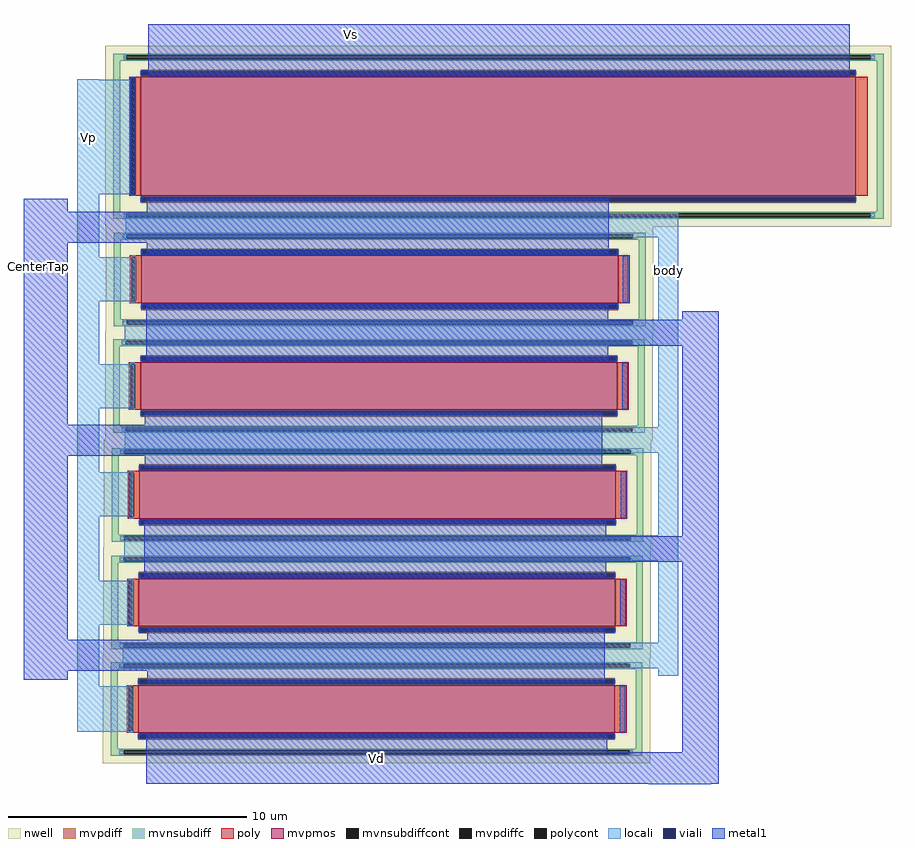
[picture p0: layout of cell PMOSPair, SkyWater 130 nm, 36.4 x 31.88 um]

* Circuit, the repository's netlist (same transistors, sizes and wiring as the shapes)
* NGSPICE file created from PMOSPair.ext - technology: sky130A

.subckt sky130_fd_pr__pfet_g5v0d10v5_97BMAW a_n558_n3000# a_n500_n3097# a_500_n3000#
+ w_n758_n3297#
X0 a_500_n3000# a_n500_n3097# a_n558_n3000# w_n758_n3297# sky130_fd_pr__pfet_g5v0d10v5 ad=8.7e+12p pd=6.058e+07u as=8.7e+12p ps=6.058e+07u w=3e+07u l=5e+06u
.ends

.subckt sky130_fd_pr__pfet_g5v0d10v5_97TZA6 a_n200_n2097# a_200_n2000# w_n458_n2297#
+ a_n258_n2000#
X0 a_200_n2000# a_n200_n2097# a_n258_n2000# w_n458_n2297# sky130_fd_pr__pfet_g5v0d10v5 ad=5.8e+12p pd=4.058e+07u as=5.8e+12p ps=4.058e+07u w=2e+07u l=2e+06u
.ends

.subckt PMOSPair Vs body CenterTap Vp Vd
XXM12 Vs Vp CenterTap body sky130_fd_pr__pfet_g5v0d10v5_97BMAW
XXM7 Vp CenterTap body Vd sky130_fd_pr__pfet_g5v0d10v5_97TZA6
XXM8 Vp Vd body CenterTap sky130_fd_pr__pfet_g5v0d10v5_97TZA6
XXM9 Vp CenterTap body Vd sky130_fd_pr__pfet_g5v0d10v5_97TZA6
XXM10 Vp Vd body CenterTap sky130_fd_pr__pfet_g5v0d10v5_97TZA6
XXM11 Vp CenterTap body Vd sky130_fd_pr__pfet_g5v0d10v5_97TZA6
.ends

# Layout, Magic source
magic
tech sky130A
magscale 1 2
<< locali >>
rect -398 7576 -212 7578
rect -398 6612 84 7576
rect -398 6086 -212 6612
rect 8 6252 4646 6454
rect -398 5718 92 6086
rect -398 5188 -212 5718
rect 4476 5562 4646 6252
rect 0 5348 4646 5562
rect -398 4820 80 5188
rect -398 4280 -212 4820
rect 4476 4660 4646 5348
rect 0 4446 4646 4660
rect -398 3912 70 4280
rect -398 3370 -212 3912
rect 4476 3752 4646 4446
rect -4 3538 4646 3752
rect -398 3002 70 3370
rect -398 2486 -212 3002
rect 4476 2850 4646 3538
rect -18 2636 4646 2850
rect 4476 2574 4646 2636
rect -398 2104 74 2486
<< metal1 >>
rect 198 7604 6084 8042
rect -848 6466 -476 6576
rect 184 6466 4062 6580
rect -848 6206 4062 6466
rect -848 4680 -476 6206
rect 184 6102 4062 6206
rect 180 5560 4058 5694
rect 4676 5560 4984 5634
rect 180 5344 4984 5560
rect 180 5216 4058 5344
rect 168 4680 4006 4780
rect -848 4420 4006 4680
rect -848 2878 -476 4420
rect 168 4318 4006 4420
rect 162 3746 4040 3876
rect 4676 3746 4984 5344
rect 162 3530 4984 3746
rect 162 3398 4040 3530
rect 188 2878 4026 2978
rect -848 2618 4026 2878
rect -848 2542 -476 2618
rect 188 2516 4026 2618
rect 182 1932 4048 2086
rect 4676 1932 4984 3530
rect 182 1670 4984 1932
rect 182 1668 4916 1670
rect 4398 1666 4916 1668
use sky130_fd_pr__pfet_g5v0d10v5_97TZA6  XM7
transform 0 -1 2139 1 0 5900
box -458 -2297 458 2297
use sky130_fd_pr__pfet_g5v0d10v5_97TZA6  XM8
transform 0 -1 2133 1 0 5004
box -458 -2297 458 2297
use sky130_fd_pr__pfet_g5v0d10v5_97TZA6  XM9
transform 0 -1 2121 1 0 4092
box -458 -2297 458 2297
use sky130_fd_pr__pfet_g5v0d10v5_97TZA6  XM10
transform 0 -1 2117 1 0 3188
box -458 -2297 458 2297
use sky130_fd_pr__pfet_g5v0d10v5_97TZA6  XM11
transform 0 -1 2113 1 0 2296
box -458 -2297 458 2297
use sky130_fd_pr__pfet_g5v0d10v5_97BMAW  XM12
transform 0 1 3135 -1 0 7100
box -758 -3297 758 3297
<< labels >>
rlabel metal1 322 7900 3470 8008 1 Vs
port 0 n
rlabel locali 4506 5724 4626 6228 3 body
port 1 e
rlabel metal1 -804 5544 -638 6472 7 CenterTap
port 2 w
rlabel locali -356 6812 -254 7362 7 Vp
port 3 w
rlabel space 182 1668 4048 2090 5 Vd
port 5 s
<< end >>

# cell sky130_fd_pr__pfet_g5v0d10v5_97TZA6: kit device sky130_fd_pr__pfet_g5v0d10v5, w 20.0 l 2.0 m 1 nf 1 diffcov 100 polycov 100 guard 1 glc 1 grc 1 gtc 1 gbc 1 tbcov 100 rlcov 100 topc 1 botc 1 poverlap 0 doverlap 1 lmin 0.50 wmin 0.42 compatible {sky130_fd_pr__pfet_01v8 sky130_fd_pr__pfet_01v8_lvt sky130_fd_pr__pfet_01v8_hvt sky130_fd_pr__pfet_g5v0d10v5} full_metal 1 viasrc 100 viadrn 100 viagate 100 viagb 0 viagr 0 viagl 0 viagt 0

# cell sky130_fd_pr__pfet_g5v0d10v5_97BMAW: kit device sky130_fd_pr__pfet_g5v0d10v5, w 30.0 l 5.0 m 1 nf 1 diffcov 100 polycov 100 guard 1 glc 1 grc 1 gtc 1 gbc 1 tbcov 100 rlcov 100 topc 1 botc 1 poverlap 0 doverlap 1 lmin 0.50 wmin 0.42 compatible {sky130_fd_pr__pfet_01v8 sky130_fd_pr__pfet_01v8_lvt sky130_fd_pr__pfet_01v8_hvt sky130_fd_pr__pfet_g5v0d10v5} full_metal 1 viasrc 100 viadrn 100 viagate 100 viagb 0 viagr 0 viagl 0 viagt 0
